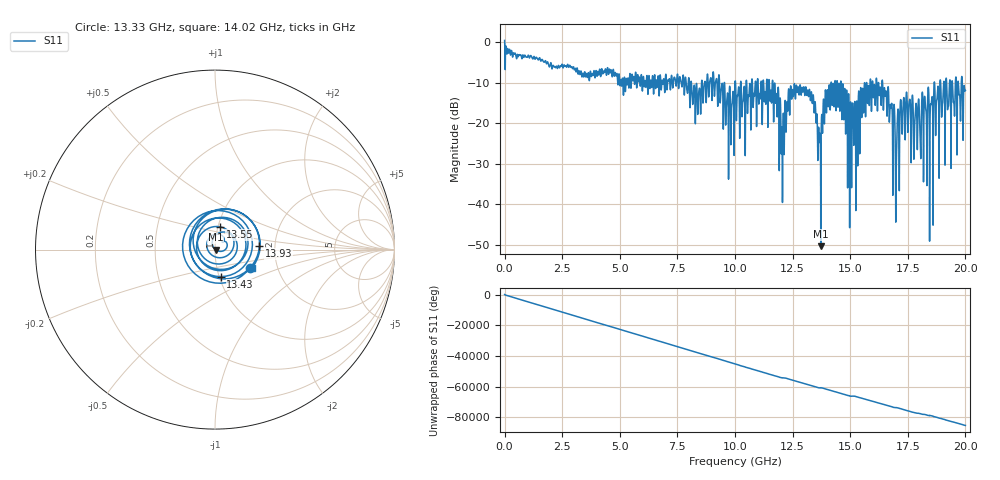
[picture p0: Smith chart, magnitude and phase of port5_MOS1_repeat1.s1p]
! MS46122B
! 2250307/22442219
! 7/26/2025 10:33:36 AM
! C:\USERS\SPARKY\DOCUMENTS\VNA_DATA\JULY26_2025\295K\PORT5_MOS1_REPEAT1.S1P
! CHANNEL.1
! TR.MEASUREMENT
! RAW.DATA
# GHZ S RI R 50.0
! FREQ.GHZ  S11RE  S11IM
!; PortSelection: Port_1
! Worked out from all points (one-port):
!   10001 points, 1 MHz to 20 GHz, reference 50 ohm
!   lowest |S11| = -50.4 dB at 13.72 GHz (marker M1), VSWR 1.01, Z = 50.3 - j0.0208 ohm
!   |S11| at or under -10 dB: 11.64 GHz to 14.17 GHz (2.528 GHz wide, 19.6 % of centre); 14.6 GHz to 15.71 GHz (1.105 GHz wide, 7.29 % of centre); 16.41 GHz to 18.65 GHz (2.24 GHz wide, 12.8 % of centre) (the widest 3 of 72)
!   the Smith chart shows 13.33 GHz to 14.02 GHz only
!   S11 on the Smith chart (normalised r, x): 13.33 GHz: 1.44, -0.31; 13.43 GHz: 1.02, -0.31; 13.55 GHz: 1.02, +0.26; 13.93 GHz: 1.66, +0.07; 14.02 GHz: 1.48, -0.32
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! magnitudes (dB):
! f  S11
! 1 MHz  0.4
! 2.501 GHz  -5.5
! 5.001 GHz  -10.4
! 7.501 GHz  -7.9
! 10 GHz  -10.1
! 11.55 GHz  -11.9
! 11.8 GHz  -12.9
! 12.07 GHz  -24.8
! 12.5 GHz  -11.7
! 13.33 GHz  -13.2
! 13.43 GHz  -16.2
! 13.55 GHz  -17.7
! 13.72 GHz  -50.4
! 13.93 GHz  -12.1
! 14.02 GHz  -12.8
! 14.51 GHz  -10.2
! 15 GHz  -16.5
! 16.31 GHz  -11.5
! 16.72 GHz  -16.4
! 16.93 GHz  -17.3
! 17.05 GHz  -19.6
! 17.13 GHz  -36.7
! 17.5 GHz  -21.7
! 17.99 GHz  -15.4
! 18.19 GHz  -21.2
! 18.52 GHz  -15.2
! 18.73 GHz  -16.7
! 20 GHz  -11.9
